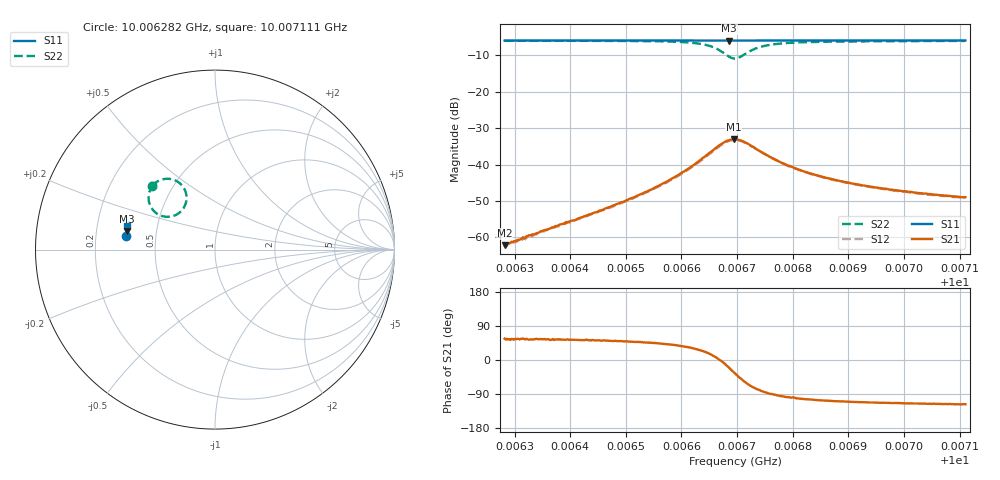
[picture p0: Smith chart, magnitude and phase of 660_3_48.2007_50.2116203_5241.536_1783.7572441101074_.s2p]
#  HZ  S  RI  R  50.00
! Rohde & Schwarz Vector Network Analyzer
! Rohde-Schwarz,ZNB20-2Port,1311601062101988,3.16
! Created: UTC 3/20/2024, 12:05:42 PM
! freq[Hz]  re:S11  im:S11  re:S21  im:S21  re:S12  im:S12  re:S22  im:S22
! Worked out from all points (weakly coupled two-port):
!   401 points, 10.006282 GHz to 10.007111 GHz, reference 50 ohm
!   highest |S21| = -33.04 dB at 10.006694 GHz (marker M1); lowest = -62.2 dB at 10.006282 GHz (marker M2)
!   lowest |S11| = -6.0 dB at 10.006686 GHz (marker M3), VSWR 3.02, Z = 16.7 + j4.66 ohm
!   |S11| at or under -10 dB: nowhere
!   |S22| runs from -10.9 to -6.0 dB; largest |S21 - S12| = 0.0018
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1.00062819e10  -0.4978 0.0784  0.000433 0.000648  0.000397 0.000691  -0.3514 0.3553
1.00062943e10  -0.4974 0.0791  0.000492 0.00072  0.000451 0.000685  -0.3505 0.3563
1.00063358e10  -0.4971 0.0819  0.00063 0.000913  0.000574 0.000933  -0.3467 0.3599
1.00063461e10  -0.4971 0.0826  0.00068 0.000991  0.000604 0.00102  -0.3458 0.3607
1.00064207e10  -0.4962 0.0875  0.00115 0.0015  0.00104 0.00154  -0.3369 0.3683
1.00064994e10  -0.4955 0.0926  0.00209 0.0024  0.00194 0.00248  -0.3225 0.3785
1.00065595e10  -0.4947 0.0966  0.00371 0.00356  0.00347 0.00367  -0.3018 0.3883
1.00066051e10  -0.4941 0.0998  0.00661 0.00469  0.00614 0.00493  -0.2706 0.3945
1.00066424e10  -0.493 0.1022  0.012 0.00477  0.0114 0.00517  -0.2181 0.3839
1.00066652e10  -0.4921 0.1035  0.0176 0.00113  0.0169 0.00223  -0.1724 0.3413
1.00066859e10  -0.4913 0.104  0.0203 -0.00765  0.0203 -0.0062  -0.1645 0.2537
1.00066942e10  -0.4914 0.1041  0.0187 -0.0121  0.0191 -0.0103  -0.1862 0.217
1.00066962e10  -0.4914 0.1041  0.018 -0.0129  0.0187 -0.0112  -0.194 0.2094
1.00067045e10  -0.4915 0.1042  0.0149 -0.0157  0.0157 -0.0144  -0.2299 0.1883
1.00067149e10  -0.4918 0.1047  0.0104 -0.0171  0.0114 -0.0164  -0.2759 0.1832
1.00067294e10  -0.4922 0.1056  0.00531 -0.0167  0.00619 -0.0161  -0.3234 0.2006
1.00067439e10  -0.4924 0.1065  0.00205 -0.0147  0.00292 -0.0145  -0.3496 0.2257
1.00067812e10  -0.4923 0.1093  -0.00111 -0.0105  -0.000447 -0.0103  -0.3695 0.2753
1.0006835e10  -0.4919 0.1129  -0.00188 -0.0072  -0.00151 -0.00722  -0.3677 0.3115
1.0006891e10  -0.4912 0.1168  -0.00191 -0.00549  -0.00164 -0.00551  -0.3617 0.3303
1.00069738e10  -0.4901 0.1221  -0.0018 -0.00417  -0.00158 -0.00426  -0.3536 0.3463
1.00071105e10  -0.4881 0.1309  -0.00161 -0.00319  -0.00144 -0.00316  -0.3429 0.3615
